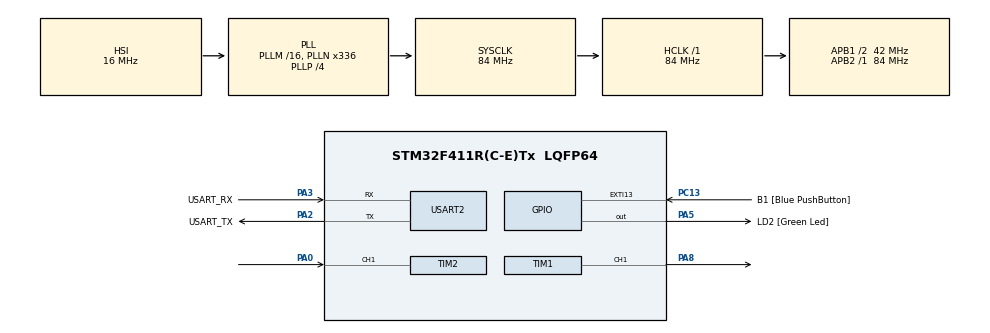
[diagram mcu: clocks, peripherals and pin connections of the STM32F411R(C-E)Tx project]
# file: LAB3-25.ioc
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Dma.Request0=TIM2_CH1
Dma.TIM2_CH1.0.Direction=DMA_PERIPH_TO_MEMORY
Dma.TIM2_CH1.0.FIFOMode=DMA_FIFOMODE_DISABLE
Dma.TIM2_CH1.0.Instance=DMA1_Stream5
Dma.TIM2_CH1.0.MemDataAlignment=DMA_MDATAALIGN_WORD
Dma.TIM2_CH1.0.MemInc=DMA_MINC_ENABLE
Dma.TIM2_CH1.0.Mode=DMA_CIRCULAR
Dma.TIM2_CH1.0.PeriphDataAlignment=DMA_PDATAALIGN_WORD
Dma.TIM2_CH1.0.PeriphInc=DMA_PINC_DISABLE
Dma.TIM2_CH1.0.Priority=DMA_PRIORITY_LOW
Mcu.Family=STM32F4
Mcu.Name=STM32F411R(C-E)Tx
Mcu.Package=LQFP64
NVIC.DMA1_Stream5_IRQn=true\:0\:0\:false\:false\:true\:false\:true\:true
NVIC.PriorityGroup=NVIC_PRIORITYGROUP_0
PA0-WKUP.Signal=S_TIM2_CH1_ETR
PA13.GPIO_Label=TMS
PA13.Mode=Serial_Wire
PA13.Signal=SYS_JTMS-SWDIO
PA14.GPIO_Label=TCK
PA14.Mode=Serial_Wire
PA14.Signal=SYS_JTCK-SWCLK
PA2.GPIO_Label=USART_TX
PA2.Mode=Asynchronous
PA2.Signal=USART2_TX
PA3.GPIO_Label=USART_RX
PA3.Mode=Asynchronous
PA3.Signal=USART2_RX
PA5.GPIO_Label=LD2 [Green Led]
PA5.Signal=GPIO_Output
PA8.Signal=S_TIM1_CH1
PB3.GPIO_Label=SWO
PB3.Signal=SYS_JTDO-SWO
PC13-ANTI_TAMP.GPIO_Label=B1 [Blue PushButton]
PC13-ANTI_TAMP.GPIO_ModeDefaultEXTI=GPIO_MODE_IT_FALLING
PC13-ANTI_TAMP.Signal=GPXTI13
PC14-OSC32_IN.Mode=LSE-External-Oscillator
PC14-OSC32_IN.Signal=RCC_OSC32_IN
PC15-OSC32_OUT.Mode=LSE-External-Oscillator
PC15-OSC32_OUT.Signal=RCC_OSC32_OUT
PH0\ -\ OSC_IN.Mode=HSE-External-Clock-Source
PH0\ -\ OSC_IN.Signal=RCC_OSC_IN
PH1\ -\ OSC_OUT.Mode=HSE-External-Clock-Source
PH1\ -\ OSC_OUT.Signal=RCC_OSC_OUT
ProjectManager.HeapSize=0x200
ProjectManager.StackSize=0x400
ProjectManager.TargetToolchain=STM32CubeIDE
RCC.48MHZClocksFreq_Value=84000000
RCC.AHBFreq_Value=84000000
RCC.APB1CLKDivider=RCC_HCLK_DIV2
RCC.APB1Freq_Value=42000000
RCC.APB1TimFreq_Value=84000000
RCC.APB2Freq_Value=84000000
RCC.APB2TimFreq_Value=84000000
RCC.CortexFreq_Value=84000000
RCC.FLatency-AdvancedSettings=FLASH_LATENCY_2
RCC.HCLKFreq_Value=84000000
RCC.HSE_VALUE=8000000
RCC.HSI_VALUE=16000000
RCC.PLLN=336
RCC.PLLP=RCC_PLLP_DIV4
RCC.SYSCLKFreq_VALUE=84000000
RCC.SYSCLKSource=RCC_SYSCLKSOURCE_PLLCLK
RCC.VCOOutputFreq_Value=336000000
SH.S_TIM1_CH1.0=TIM1_CH1,PWM Generation1 CH1
SH.S_TIM2_CH1_ETR.0=TIM2_CH1,Input_Capture1_from_TI1
TIM1.Channel-PWM\ Generation1\ CH1=TIM_CHANNEL_1
TIM1.Period=999
TIM1.Prescaler=83
TIM1.Pulse-PWM\ Generation1\ CH1=0
TIM2.Channel-Input_Capture1_from_TI1=TIM_CHANNEL_1
TIM2.Prescaler=83
USART2.VirtualMode=VM_ASYNC
VP_TIM1_VS_ClockSourceINT.Mode=Internal
VP_TIM2_VS_ClockSourceINT.Mode=Internal
board=NUCLEO-F411RE

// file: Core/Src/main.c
/* USER CODE BEGIN Header */
/**
  ******************************************************************************
  * @file           : main.c
  * @brief          : Main program body
  ******************************************************************************
  * @attention
  *
  * Copyright (c) 2023 STMicroelectronics.
  * All rights reserved.
  *
  * This software is licensed under terms that can be found in the LICENSE file
  * in the root directory of this software component.
  * If no LICENSE file comes with this software, it is provided AS-IS.
  *
  ******************************************************************************
  */
/* USER CODE END Header */
#include "main.h"

/* USER CODE BEGIN Includes */
#define IC_BUFFER_SIZE 20
/* USER CODE END Includes */

TIM_HandleTypeDef htim1;
TIM_HandleTypeDef htim2;
DMA_HandleTypeDef hdma_tim2_ch1;

UART_HandleTypeDef huart2;

/* USER CODE BEGIN PV */
uint32_t InputCaptureBuffer[IC_BUFFER_SIZE];
float averageRisingedgePeriod; // average value
uint32_t duty = 0;
int MotorSetDuty = 0;
float MotorReadRPM = 0;
float MotorSetRPM = 0;
float MotorSetRPMLog = 0;
float kp = 4;
float ki = 1;
float NewDuty = 0;
float MotorControlEnable = 0;
/* USER CODE END PV */

void SystemClock_Config(void);
static void MX_GPIO_Init(void);
static void MX_DMA_Init(void);
static void MX_USART2_UART_Init(void);
static void MX_TIM2_Init(void);
static void MX_TIM1_Init(void);
/* USER CODE BEGIN PFP */
float IC_Calc_Period();
void MotorSettingDuty ();
void MotorVelocity();
void MotorSetting ();
/* USER CODE END PFP */

int main(void)
{

  /* MCU Configuration--------------------------------------------------------*/

  /* Reset of all peripherals, Initializes the Flash interface and the Systick. */
  HAL_Init();

  /* Configure the system clock */
  SystemClock_Config();

  /* Initialize all configured peripherals */
  MX_GPIO_Init();
  MX_DMA_Init();
  MX_USART2_UART_Init();
  MX_TIM2_Init();
  MX_TIM1_Init();
  /* USER CODE BEGIN 2 */
HAL_TIM_Base_Start(&htim2); //start timer
HAL_TIM_IC_Start_DMA(&htim2, TIM_CHANNEL_1, InputCaptureBuffer, IC_BUFFER_SIZE); // start input capture with DMA
// Keep in TIM_CHANNEL_1, DMA put in InputCaptureBuffer, IC buffer size

HAL_TIM_Base_Start(&htim1);
HAL_TIM_PWM_Start(&htim1, TIM_CHANNEL_1);
  /* USER CODE END 2 */

  /* Infinite loop */
  while (1)
  {

    /* USER CODE BEGIN 3 */

  static uint32_t timestamp = 0;
  if (HAL_GetTick()>= timestamp){
	  timestamp = HAL_GetTick() + 1; // 1000 Hz

	  averageRisingedgePeriod = IC_Calc_Period();
	  MotorSettingDuty();
	  MotorVelocity();
	  MotorSetting();
	  MotorControl();
  }
}
  /* USER CODE END 3 */
}

void SystemClock_Config(void)
{
  RCC_OscInitTypeDef RCC_OscInitStruct = {0};
  RCC_ClkInitTypeDef RCC_ClkInitStruct = {0};

  /** Configure the main internal regulator output voltage
  */
  __HAL_RCC_PWR_CLK_ENABLE();
  __HAL_PWR_VOLTAGESCALING_CONFIG(PWR_REGULATOR_VOLTAGE_SCALE1);

  /** Initializes the RCC Oscillators according to the specified parameters
  * in the RCC_OscInitTypeDef structure.
  */
  RCC_OscInitStruct.OscillatorType = RCC_OSCILLATORTYPE_HSI;
  RCC_OscInitStruct.HSIState = RCC_HSI_ON;
  RCC_OscInitStruct.HSICalibrationValue = RCC_HSICALIBRATION_DEFAULT;
  RCC_OscInitStruct.PLL.PLLState = RCC_PLL_ON;
  RCC_OscInitStruct.PLL.PLLSource = RCC_PLLSOURCE_HSI;
  RCC_OscInitStruct.PLL.PLLM = 16;
  RCC_OscInitStruct.PLL.PLLN = 336;
  RCC_OscInitStruct.PLL.PLLP = RCC_PLLP_DIV4;
  RCC_OscInitStruct.PLL.PLLQ = 4;
  if (HAL_RCC_OscConfig(&RCC_OscInitStruct) != HAL_OK)
  {
    Error_Handler();
  }

  /** Initializes the CPU, AHB and APB buses clocks
  */
  RCC_ClkInitStruct.ClockType = RCC_CLOCKTYPE_HCLK|RCC_CLOCKTYPE_SYSCLK
                              |RCC_CLOCKTYPE_PCLK1|RCC_CLOCKTYPE_PCLK2;
  RCC_ClkInitStruct.SYSCLKSource = RCC_SYSCLKSOURCE_PLLCLK;
  RCC_ClkInitStruct.AHBCLKDivider = RCC_SYSCLK_DIV1;
  RCC_ClkInitStruct.APB1CLKDivider = RCC_HCLK_DIV2;
  RCC_ClkInitStruct.APB2CLKDivider = RCC_HCLK_DIV1;

  if (HAL_RCC_ClockConfig(&RCC_ClkInitStruct, FLASH_LATENCY_2) != HAL_OK)
  {
    Error_Handler();
  }
}

static void MX_TIM1_Init(void)
{

  TIM_ClockConfigTypeDef sClockSourceConfig = {0};
  TIM_MasterConfigTypeDef sMasterConfig = {0};
  TIM_OC_InitTypeDef sConfigOC = {0};
  TIM_BreakDeadTimeConfigTypeDef sBreakDeadTimeConfig = {0};

  htim1.Instance = TIM1;
  htim1.Init.Prescaler = 83;
  htim1.Init.CounterMode = TIM_COUNTERMODE_UP;
  htim1.Init.Period = 999;
  htim1.Init.ClockDivision = TIM_CLOCKDIVISION_DIV1;
  htim1.Init.RepetitionCounter = 0;
  htim1.Init.AutoReloadPreload = TIM_AUTORELOAD_PRELOAD_DISABLE;
  if (HAL_TIM_Base_Init(&htim1) != HAL_OK)
  {
    Error_Handler();
  }
  sClockSourceConfig.ClockSource = TIM_CLOCKSOURCE_INTERNAL;
  if (HAL_TIM_ConfigClockSource(&htim1, &sClockSourceConfig) != HAL_OK)
  {
    Error_Handler();
  }
  if (HAL_TIM_PWM_Init(&htim1) != HAL_OK)
  {
    Error_Handler();
  }
  sMasterConfig.MasterOutputTrigger = TIM_TRGO_RESET;
  sMasterConfig.MasterSlaveMode = TIM_MASTERSLAVEMODE_DISABLE;
  if (HAL_TIMEx_MasterConfigSynchronization(&htim1, &sMasterConfig) != HAL_OK)
  {
    Error_Handler();
  }
  sConfigOC.OCMode = TIM_OCMODE_PWM1;
  sConfigOC.Pulse = 0;
  sConfigOC.OCPolarity = TIM_OCPOLARITY_HIGH;
  sConfigOC.OCNPolarity = TIM_OCNPOLARITY_HIGH;
  sConfigOC.OCFastMode = TIM_OCFAST_DISABLE;
  sConfigOC.OCIdleState = TIM_OCIDLESTATE_RESET;
  sConfigOC.OCNIdleState = TIM_OCNIDLESTATE_RESET;
  if (HAL_TIM_PWM_ConfigChannel(&htim1, &sConfigOC, TIM_CHANNEL_1) != HAL_OK)
  {
    Error_Handler();
  }
  sBreakDeadTimeConfig.OffStateRunMode = TIM_OSSR_DISABLE;
  sBreakDeadTimeConfig.OffStateIDLEMode = TIM_OSSI_DISABLE;
  sBreakDeadTimeConfig.LockLevel = TIM_LOCKLEVEL_OFF;
  sBreakDeadTimeConfig.DeadTime = 0;
  sBreakDeadTimeConfig.BreakState = TIM_BREAK_DISABLE;
  sBreakDeadTimeConfig.BreakPolarity = TIM_BREAKPOLARITY_HIGH;
  sBreakDeadTimeConfig.AutomaticOutput = TIM_AUTOMATICOUTPUT_DISABLE;
  if (HAL_TIMEx_ConfigBreakDeadTime(&htim1, &sBreakDeadTimeConfig) != HAL_OK)
  {
    Error_Handler();
  }
  HAL_TIM_MspPostInit(&htim1);

}

static void MX_TIM2_Init(void)
{

  TIM_ClockConfigTypeDef sClockSourceConfig = {0};
  TIM_MasterConfigTypeDef sMasterConfig = {0};
  TIM_IC_InitTypeDef sConfigIC = {0};

  htim2.Instance = TIM2;
  htim2.Init.Prescaler = 83;
  htim2.Init.CounterMode = TIM_COUNTERMODE_UP;
  htim2.Init.Period = 4294967295;
  htim2.Init.ClockDivision = TIM_CLOCKDIVISION_DIV1;
  htim2.Init.AutoReloadPreload = TIM_AUTORELOAD_PRELOAD_DISABLE;
  if (HAL_TIM_Base_Init(&htim2) != HAL_OK)
  {
    Error_Handler();
  }
  sClockSourceConfig.ClockSource = TIM_CLOCKSOURCE_INTERNAL;
  if (HAL_TIM_ConfigClockSource(&htim2, &sClockSourceConfig) != HAL_OK)
  {
    Error_Handler();
  }
  if (HAL_TIM_IC_Init(&htim2) != HAL_OK)
  {
    Error_Handler();
  }
  sMasterConfig.MasterOutputTrigger = TIM_TRGO_RESET;
  sMasterConfig.MasterSlaveMode = TIM_MASTERSLAVEMODE_DISABLE;
  if (HAL_TIMEx_MasterConfigSynchronization(&htim2, &sMasterConfig) != HAL_OK)
  {
    Error_Handler();
  }
  sConfigIC.ICPolarity = TIM_INPUTCHANNELPOLARITY_RISING;
  sConfigIC.ICSelection = TIM_ICSELECTION_DIRECTTI;
  sConfigIC.ICPrescaler = TIM_ICPSC_DIV1;
  sConfigIC.ICFilter = 0;
  if (HAL_TIM_IC_ConfigChannel(&htim2, &sConfigIC, TIM_CHANNEL_1) != HAL_OK)
  {
    Error_Handler();
  }

}

static void MX_USART2_UART_Init(void)
{

  huart2.Instance = USART2;
  huart2.Init.BaudRate = 115200;
  huart2.Init.WordLength = UART_WORDLENGTH_8B;
  huart2.Init.StopBits = UART_STOPBITS_1;
  huart2.Init.Parity = UART_PARITY_NONE;
  huart2.Init.Mode = UART_MODE_TX_RX;
  huart2.Init.HwFlowCtl = UART_HWCONTROL_NONE;
  huart2.Init.OverSampling = UART_OVERSAMPLING_16;
  if (HAL_UART_Init(&huart2) != HAL_OK)
  {
    Error_Handler();
  }

}

static void MX_DMA_Init(void)
{

  /* DMA controller clock enable */
  __HAL_RCC_DMA1_CLK_ENABLE();

  /* DMA interrupt init */
  /* DMA1_Stream5_IRQn interrupt configuration */
  HAL_NVIC_SetPriority(DMA1_Stream5_IRQn, 0, 0);
  HAL_NVIC_EnableIRQ(DMA1_Stream5_IRQn);

}

static void MX_GPIO_Init(void)
{
  GPIO_InitTypeDef GPIO_InitStruct = {0};

  /* GPIO Ports Clock Enable */
  __HAL_RCC_GPIOC_CLK_ENABLE();
  __HAL_RCC_GPIOH_CLK_ENABLE();
  __HAL_RCC_GPIOA_CLK_ENABLE();
  __HAL_RCC_GPIOB_CLK_ENABLE();

  /*Configure GPIO pin Output Level */
  HAL_GPIO_WritePin(LD2_GPIO_Port, LD2_Pin, GPIO_PIN_RESET);

  /*Configure GPIO pin : B1_Pin */
  GPIO_InitStruct.Pin = B1_Pin;
  GPIO_InitStruct.Mode = GPIO_MODE_IT_FALLING;
  GPIO_InitStruct.Pull = GPIO_NOPULL;
  HAL_GPIO_Init(B1_GPIO_Port, &GPIO_InitStruct);

  /*Configure GPIO pin : LD2_Pin */
  GPIO_InitStruct.Pin = LD2_Pin;
  GPIO_InitStruct.Mode = GPIO_MODE_OUTPUT_PP;
  GPIO_InitStruct.Pull = GPIO_NOPULL;
  GPIO_InitStruct.Speed = GPIO_SPEED_FREQ_LOW;
  HAL_GPIO_Init(LD2_GPIO_Port, &GPIO_InitStruct);

}

/* USER CODE BEGIN 4 */
float IC_Calc_Period()
{
	uint32_t currentDMAPointer = IC_BUFFER_SIZE - __HAL_DMA_GET_COUNTER((htim2.hdma[1])); // เอา dma ของ cc1 มาอ่่าน

	uint32_t lastValidDMAPointer = (currentDMAPointer - 1 + IC_BUFFER_SIZE) % IC_BUFFER_SIZE ;
	// ตำแหน่งของช่วงที่เราจะเก็บข้อมูล ในที่นี้คือ 5
	uint32_t i = (lastValidDMAPointer + IC_BUFFER_SIZE - 5) % IC_BUFFER_SIZE;

	int32_t sumdiff = 0;

	while (i != lastValidDMAPointer){
		uint32_t firstCapture = InputCaptureBuffer[i];

		uint32_t NextCapture = InputCaptureBuffer[(i+1)%IC_BUFFER_SIZE];
		sumdiff += NextCapture - firstCapture;
		i = (i+1) % IC_BUFFER_SIZE;
	}
	return sumdiff / 5.0 ; // avg encoder rotation
}
void MotorSettingDuty (){
	duty = MotorSetDuty * 10;
}
void MotorVelocity (){
	// velocity = (pulse frequency * 60) / (Encoder PPR * Gear Ratio)
	MotorReadRPM = (1000000 * 60) / (12 * 64 * averageRisingedgePeriod);
}
void MotorSetting(){
	//kp
	// (Velocity - Velocity Target) * kp = y

	MotorSetRPMLog = (MotorSetRPM - MotorReadRPM) * kp; // kp*e
	//ki
	MotorSetRPMLog = MotorSetRPM + (ki * ((MotorSetRPM - MotorReadRPM) * (1 * 1000))); // kp*e + ki * integral e

	NewDuty = (100 * MotorSetRPMLog) / 22.5; // (max duty cycle * MotorSetRPMLog(Required Velocity)/max RPM

	// 1 mS = 1000 microseconds
}
void MotorControl(){
	if (MotorControlEnable == 1) {
		 __HAL_TIM_SET_COMPARE(&htim1,TIM_CHANNEL_1,NewDuty*10); // compare เพื่อเปลี่ยน duty cycle
		 // NewDutyCycle*10 เพราะทำให้ range ความถี่ของ duty = 1000
	}
	if (MotorControlEnable == 0) {
		__HAL_TIM_SET_COMPARE(&htim1,TIM_CHANNEL_1,duty); // compare duty
	}
}
/* USER CODE END 4 */

void Error_Handler(void)
{
  __disable_irq();
  while (1)
  {
  }
}
